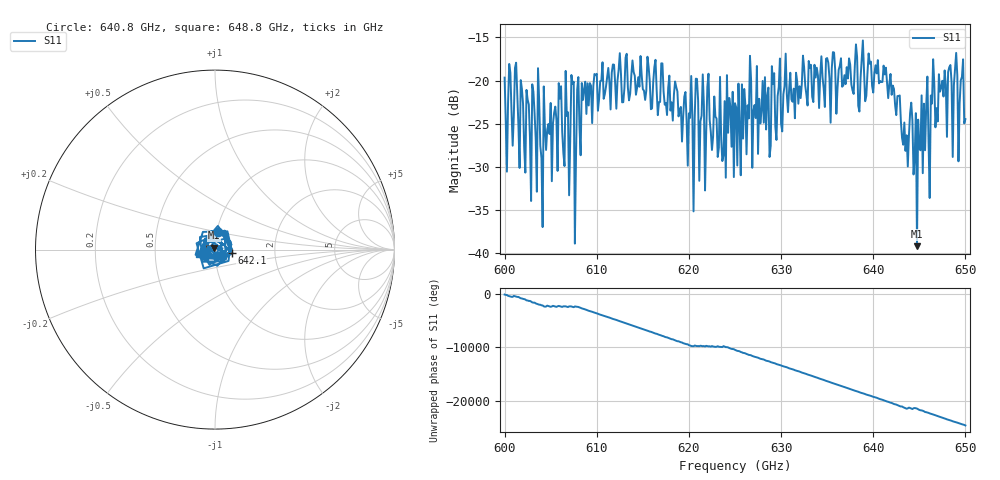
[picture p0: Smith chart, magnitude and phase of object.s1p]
!Created with skrf (http://scikit-rf.org).
# GHz S MA R 50.0
!freq magS11 angS11
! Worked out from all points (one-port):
!   401 points, 600 GHz to 650 GHz, reference 50 ohm
!   lowest |S11| = -39.2 dB at 644.8 GHz (marker M1), VSWR 1.02, Z = 49.6 + j1.01 ohm
!   |S11| at or under -10 dB: start of sweep to end of sweep
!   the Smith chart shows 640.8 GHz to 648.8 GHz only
!   S11 on the Smith chart (normalised r, x): 640.8 GHz: 1.01, +0.20; 642.1 GHz: 1.20, -0.04; 648.8 GHz: 0.83, -0.04
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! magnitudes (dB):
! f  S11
! 600 GHz  -19.7
! 601.2 GHz  -17.9
! 604.2 GHz  -20.7
! 604.5 GHz  -28.0
! 606.2 GHz  -25.9
! 607.2 GHz  -19.4
! 607.9 GHz  -21.0
! 608.6 GHz  -21.0
! 612.5 GHz  -16.8
! 618.8 GHz  -21.2
! 620.4 GHz  -24.1
! 622.1 GHz  -19.2
! 623.8 GHz  -28.7
! 624.4 GHz  -22.0
! 625 GHz  -22.6
! 626.5 GHz  -24.4
! 628.2 GHz  -19.6
! 628.6 GHz  -20.8
! 629.1 GHz  -20.4
! 631.2 GHz  -22.4
! 637.5 GHz  -18.1
! 640.8 GHz  -20.0
! 642.1 GHz  -20.6
! 643.8 GHz  -29.9
! 644.8 GHz  -39.2
! 646.5 GHz  -17.5
! 648.8 GHz  -20.5
! 650 GHz  -24.5
